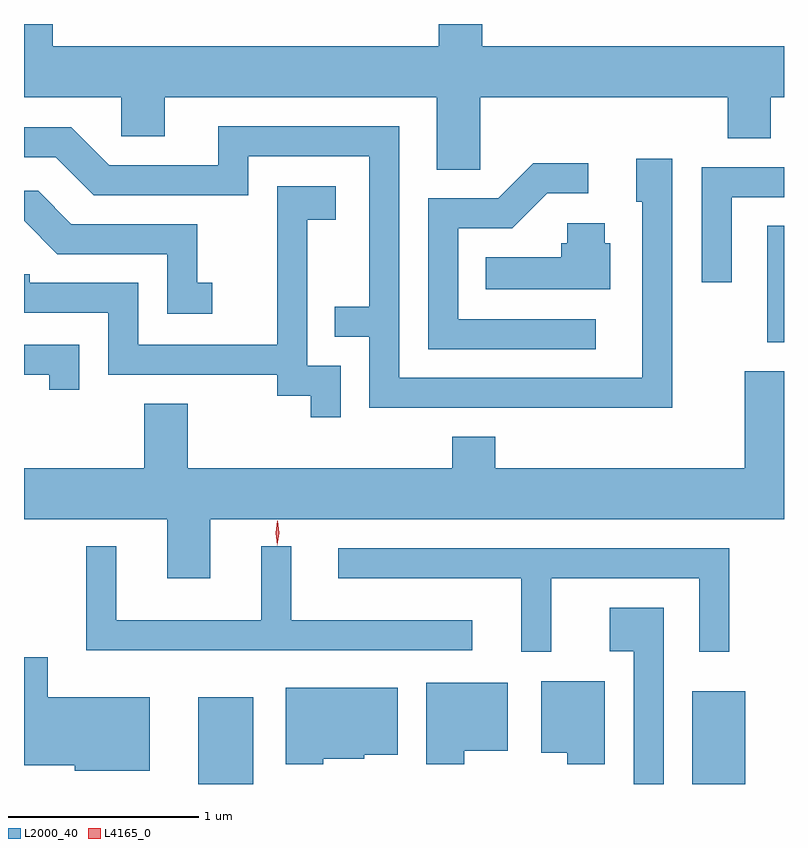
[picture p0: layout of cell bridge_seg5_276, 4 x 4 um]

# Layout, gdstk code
import gdstk
lib = gdstk.Library(unit=1e-6, precision=1e-09)
def R(c, l, rs):  # rectangles x0, y0, x1, y1
    for r in rs: c.add(gdstk.rectangle(r[:2], r[2:], *l))
def P(c, l, *ps):  # polygons
    for p in ps: c.add(gdstk.Polygon(p, *l))
L2000_40 = (2000, 40)
L4165_0 = (4165, 0)

bridge_seg5_276 = lib.new_cell('bridge_seg5_276')
R(bridge_seg5_276, L2000_40, [(730.246,1504.242,730.534,1504.699), (732.846,1504.242,733.124,1504.729), (733.241,1506.566,733.328,1507.179)])
P(bridge_seg5_276, L2000_40, [(731.729,1507.856),(733.031,1507.856),(733.031,1507.641),(733.259,1507.641),(733.259,1507.856),(733.328,1507.856),(733.328,1508.124),(731.739,1508.124),(731.739,1508.242),(731.511,1508.242),(731.511,1508.124),(729.479,1508.124),(729.479,1508.242),(729.328,1508.242),(729.328,1507.856),(729.841,1507.856),(729.841,1507.651),(730.069,1507.651),(730.069,1507.856),(731.501,1507.856),(731.501,1507.476),(731.729,1507.476)],
  [(732.739,1507.534),(732.551,1507.534),(732.551,1507.306),(732.581,1507.306),(732.581,1506.379),(731.304,1506.379),(731.304,1507.704),(730.351,1507.704),(730.351,1507.499),(729.777,1507.499),(729.577,1507.699),(729.328,1507.699),(729.328,1507.541),(729.494,1507.541),(729.694,1507.341),(730.509,1507.341),(730.509,1507.546),(731.146,1507.546),(731.146,1506.754),(730.963,1506.754),(730.963,1506.596),(731.146,1506.596),(731.146,1506.221),(732.739,1506.221)],
  [(732.338,1506.689),(731.614,1506.689),(731.614,1507.166),(731.897,1507.166),(732.082,1507.351),(732.298,1507.351),(732.298,1507.509),(732.009,1507.509),(731.824,1507.324),(731.456,1507.324),(731.456,1506.531),(732.338,1506.531)],
  [(733.054,1507.331),(733.328,1507.331),(733.328,1507.489),(732.896,1507.489),(732.896,1506.883),(733.054,1506.883)],
  [(730.994,1506.444),(730.819,1506.444),(730.819,1507.211),(730.969,1507.211),(730.969,1507.389),(730.661,1507.389),(730.661,1506.554),(729.929,1506.554),(729.929,1506.879),(729.359,1506.879),(729.359,1506.924),(729.328,1506.924),(729.328,1506.721),(729.771,1506.721),(729.771,1506.396),(730.661,1506.396),(730.661,1506.286),(730.836,1506.286),(730.836,1506.173),(730.994,1506.173)],
  [(730.318,1506.879),(730.239,1506.879),(730.239,1507.189),(729.577,1507.189),(729.402,1507.364),(729.328,1507.364),(729.328,1507.206),(729.329,1507.206),(729.504,1507.031),(730.081,1507.031),(730.081,1506.716),(730.318,1506.716)],
  [(732.414,1507.089),(732.384,1507.089),(732.384,1507.194),(732.186,1507.194),(732.186,1507.089),(732.156,1507.089),(732.156,1507.014),(731.758,1507.014),(731.758,1506.846),(732.414,1506.846)],
  [(729.619,1506.554),(729.328,1506.554),(729.328,1506.396),(729.461,1506.396),(729.461,1506.318),(729.619,1506.318)],
  [(730.309,1505.636),(733.328,1505.636),(733.328,1506.414),(733.121,1506.414),(733.121,1505.904),(731.809,1505.904),(731.809,1506.069),(731.581,1506.069),(731.581,1505.904),(730.189,1505.904),(730.189,1506.244),(729.961,1506.244),(729.961,1505.904),(729.328,1505.904),(729.328,1505.636),(730.081,1505.636),(730.081,1505.326),(730.309,1505.326)],
  [(731.688,1505.104),(730.734,1505.104),(730.734,1505.493),(730.576,1505.493),(730.576,1505.104),(729.814,1505.104),(729.814,1505.493),(729.656,1505.493),(729.656,1504.946),(731.688,1504.946)],
  [(732.104,1505.326),(732.881,1505.326),(732.881,1504.938),(733.039,1504.938),(733.039,1505.484),(730.983,1505.484),(730.983,1505.326),(731.946,1505.326),(731.946,1504.938),(732.104,1504.938)],
  [(732.694,1505.169),(732.411,1505.169),(732.411,1504.941),(732.536,1504.941),(732.536,1504.242),(732.694,1504.242)],
  [(729.989,1504.699),(729.454,1504.699),(729.454,1504.909),(729.328,1504.909),(729.328,1504.341),(729.596,1504.341),(729.596,1504.311),(729.989,1504.311)],
  [(732.384,1504.784),(732.051,1504.784),(732.051,1504.406),(732.186,1504.406),(732.186,1504.346),(732.384,1504.346)],
  [(731.644,1504.416),(731.874,1504.416),(731.874,1504.774),(731.446,1504.774),(731.446,1504.346),(731.644,1504.346)],
  [(730.904,1504.376),(731.119,1504.376),(731.119,1504.396),(731.294,1504.396),(731.294,1504.749),(730.706,1504.749),(730.706,1504.346),(730.904,1504.346)])
P(bridge_seg5_276, L4165_0, [(730.661,1505.498),(730.661,1505.498),(730.652,1505.562),(730.662,1505.627),(730.662,1505.627),(730.663,1505.627),(730.672,1505.562),(730.662,1505.498)])

lib.write_gds('bridge_seg5_276.gds')
